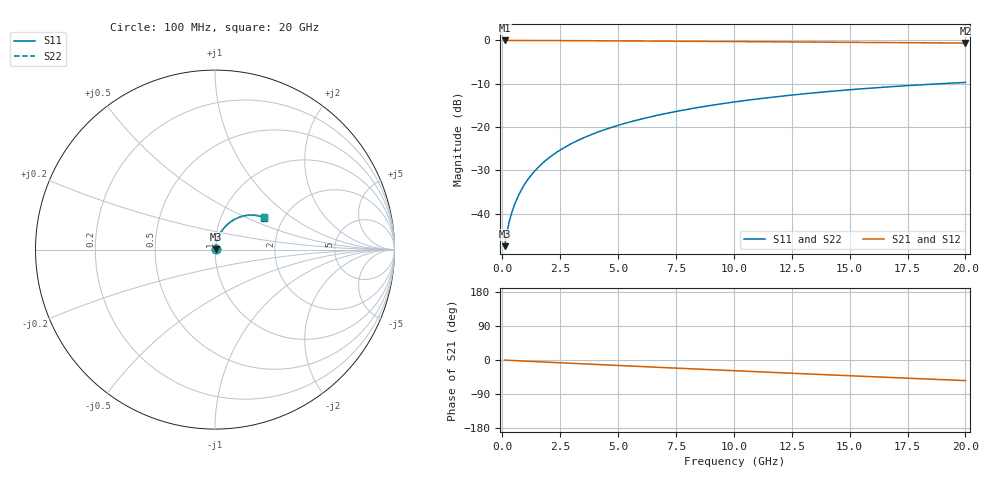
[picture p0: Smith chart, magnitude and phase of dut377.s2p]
! Touchstone file exported from HFSS 2026.1.0
!  File:  C:/ffzhzh/LocalFiles/Ansys_Project_Files/temp_train_TMRDL_377_1783004501_51716.aedt
!  Generated:  11:03:10 PM Jul  2, 2026
!  Design:  TMRDL
!  Project:  temp_train_TMRDL_377_1783004501_51716
! Variables:
!  h_bsmrdl = 2um
!  h_ox = 20um
!  h_rdl = 5um
!  h_sub = 80um
!  h_tmrdl = 4.82um
!  h_tsv = 80um
!  h_via = 3um
!  l_bsmrdl = 300um
!  l_sub = 1312.2um
!  l_tmrdl = 912.2um
!  m_sub = 200um
!  pitch = 36.88um
!  r_tsv = 6um
!  s_tmrdl = 10um
!  w_bsmrdl = 18um
!  w_sub = 500um
!  w_tmrdl = 21.18um
!  x_tsv_center1 = 922.79um
!  x_tsv_center2 = 1240.79um
!  x_tsv_center3 = 2174.17um
!  x_tsv_center4 = 2492.17um
!  x_tsv_center5 = 3425.55um
!  x_tsv_center6 = 3743.55um
# GHz S MA R 50.000000
! Terminal data exported
! Port[1] = TM_RDL1_1_T1
! Port[2] = TM_RDL1_1_T2
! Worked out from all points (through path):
!   200 points, 100 MHz to 20 GHz, reference 50 ohm
!   highest |S21| = -0.03 dB at 100 MHz (marker M1); lowest = -0.6 dB at 20 GHz (marker M2)
!   group delay of S21, straight-line fit = 7.53 ps
!   lowest |S11| = -47.5 dB at 100 MHz (marker M3), VSWR 1.01, Z = 50.3 + j0.257 ohm
!   |S11| at or under -10 dB: start of sweep to 18.91 GHz
!   |S22| runs from -47.5 to -9.7 dB; largest |S21 - S12| = 1.9e-14
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0.1  0.004238 37.0  0.9966 -0.3  0.9966 -0.3  0.004238 37.0
! Gamma 0 0 0 0
! Port Impedance 50 0 50 0
0.2  0.006131 52.9  0.9963 -0.6  0.9963 -0.6  0.006131 52.9
0.3  0.008119 60.5  0.9961 -0.9  0.9961 -0.9  0.008119 60.5
0.4  0.01012 65.2  0.9959 -1.2  0.9959 -1.2  0.01012 65.2
0.5  0.01215 68.5  0.9958 -1.5  0.9958 -1.5  0.01215 68.5
0.6  0.01421 70.8  0.9957 -1.8  0.9957 -1.8  0.01421 70.8
0.8  0.01838 73.8  0.9954 -2.4  0.9954 -2.4  0.01838 73.8
1.1  0.02474 76.0  0.9951 -3.3  0.9951 -3.3  0.02474 76.0
1.3  0.029 76.7  0.9948 -3.8  0.9948 -3.8  0.029 76.7
1.6  0.03539 77.2  0.9944 -4.7  0.9944 -4.7  0.03539 77.2
2.1  0.04599 77.0  0.9935 -6.2  0.9935 -6.2  0.04599 77.0
2.7  0.05855 76.1  0.9922 -7.9  0.9922 -7.9  0.05855 76.1
3.5  0.07497 74.4  0.9902 -10.2  0.9902 -10.2  0.07497 74.4
4.2  0.08901 72.8  0.9882 -12.2  0.9882 -12.2  0.089 72.8
5  0.1047 70.8  0.9858 -14.5  0.9858 -14.5  0.1047 70.8
5.9  0.1219 68.5  0.983 -17.0  0.983 -17.0  0.1219 68.5
6.8  0.1386 66.2  0.98 -19.5  0.98 -19.5  0.1386 66.2
8.3  0.1655 62.4  0.9747 -23.6  0.9747 -23.6  0.1655 62.4
10.1  0.1961 57.8  0.968 -28.5  0.968 -28.5  0.1961 57.8
13.4  0.2471 49.4  0.9549 -37.4  0.9549 -37.4  0.2471 49.5
16.7  0.291 41.2  0.9417 -46.0  0.9417 -46.0  0.2909 41.3
20  0.3273 33.0  0.9293 -54.4  0.9293 -54.4  0.3272 33.2
